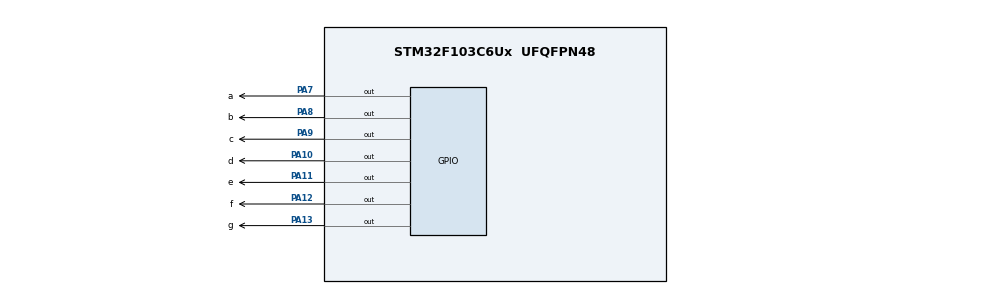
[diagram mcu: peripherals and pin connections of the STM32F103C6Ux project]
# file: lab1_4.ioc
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Mcu.Family=STM32F1
Mcu.Name=STM32F103C6Ux
Mcu.Package=UFQFPN48
NVIC.PriorityGroup=NVIC_PRIORITYGROUP_4
PA10.GPIO_Label=d
PA10.Signal=GPIO_Output
PA11.GPIO_Label=e
PA11.Signal=GPIO_Output
PA12.GPIO_Label=f
PA12.Signal=GPIO_Output
PA13.GPIO_Label=g
PA13.Signal=GPIO_Output
PA7.GPIO_Label=a
PA7.Signal=GPIO_Output
PA8.GPIO_Label=b
PA8.Signal=GPIO_Output
PA9.GPIO_Label=c
PA9.Signal=GPIO_Output
ProjectManager.HeapSize=0x200
ProjectManager.StackSize=0x400
ProjectManager.TargetToolchain=STM32CubeIDE
RCC.APB1Freq_Value=8000000
RCC.APB2Freq_Value=8000000
VP_SYS_VS_ND.Mode=No_Debug
board=custom

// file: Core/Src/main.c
/* USER CODE BEGIN Header */
/**
  ******************************************************************************
  * @file           : main.c
  * @brief          : Main program body
  ******************************************************************************
  * @attention
  *
  * <h2><center>&copy; Copyright (c) 2024 STMicroelectronics.
  * All rights reserved.</center></h2>
  *
  * This software component is licensed by ST under BSD 3-Clause license,
  * the "License"; You may not use this file except in compliance with the
  * License. You may obtain a copy of the License at:
  *                        opensource.org/licenses/BSD-3-Clause
  *
  ******************************************************************************
  */
/* USER CODE END Header */
#include "main.h"

void SystemClock_Config(void);
static void MX_GPIO_Init(void);

/* USER CODE BEGIN 0 */
void display7SEG(int num)
{
	if(num == 0) // segment g turn off
	{
		HAL_GPIO_WritePin(a_GPIO_Port, a_Pin, GPIO_PIN_RESET);
		HAL_GPIO_WritePin(b_GPIO_Port, b_Pin, GPIO_PIN_RESET);
		HAL_GPIO_WritePin(c_GPIO_Port, c_Pin, GPIO_PIN_RESET);
		HAL_GPIO_WritePin(d_GPIO_Port, d_Pin, GPIO_PIN_RESET);
		HAL_GPIO_WritePin(e_GPIO_Port, e_Pin, GPIO_PIN_RESET);
		HAL_GPIO_WritePin(f_GPIO_Port, f_Pin, GPIO_PIN_RESET);
		HAL_GPIO_WritePin(g_GPIO_Port, g_Pin, GPIO_PIN_SET);
	}
	if(num == 1)
	{
		HAL_GPIO_WritePin(a_GPIO_Port, a_Pin, GPIO_PIN_SET);
		HAL_GPIO_WritePin(b_GPIO_Port, b_Pin, GPIO_PIN_RESET);
		HAL_GPIO_WritePin(c_GPIO_Port, c_Pin, GPIO_PIN_RESET);
		HAL_GPIO_WritePin(d_GPIO_Port, d_Pin, GPIO_PIN_SET);
		HAL_GPIO_WritePin(e_GPIO_Port, e_Pin, GPIO_PIN_SET);
		HAL_GPIO_WritePin(f_GPIO_Port, f_Pin, GPIO_PIN_SET);
		HAL_GPIO_WritePin(g_GPIO_Port, g_Pin, GPIO_PIN_SET);

	}
	if(num == 2)
	{
		HAL_GPIO_WritePin(a_GPIO_Port, a_Pin, GPIO_PIN_RESET);
		HAL_GPIO_WritePin(b_GPIO_Port, b_Pin, GPIO_PIN_RESET);
		HAL_GPIO_WritePin(c_GPIO_Port, c_Pin, GPIO_PIN_SET);
		HAL_GPIO_WritePin(d_GPIO_Port, d_Pin, GPIO_PIN_RESET);
		HAL_GPIO_WritePin(e_GPIO_Port, e_Pin, GPIO_PIN_RESET);
		HAL_GPIO_WritePin(f_GPIO_Port, f_Pin, GPIO_PIN_SET);
		HAL_GPIO_WritePin(g_GPIO_Port, g_Pin, GPIO_PIN_RESET);

	}
	if(num == 3)
	{
		HAL_GPIO_WritePin(a_GPIO_Port, a_Pin, GPIO_PIN_RESET);
		HAL_GPIO_WritePin(b_GPIO_Port, b_Pin, GPIO_PIN_RESET);
		HAL_GPIO_WritePin(c_GPIO_Port, c_Pin, GPIO_PIN_RESET);
		HAL_GPIO_WritePin(d_GPIO_Port, d_Pin, GPIO_PIN_RESET);
		HAL_GPIO_WritePin(e_GPIO_Port, e_Pin, GPIO_PIN_SET);
		HAL_GPIO_WritePin(f_GPIO_Port, f_Pin, GPIO_PIN_SET);
		HAL_GPIO_WritePin(g_GPIO_Port, g_Pin, GPIO_PIN_RESET);
	}
	if(num == 4)
	{
		HAL_GPIO_WritePin(a_GPIO_Port, a_Pin, GPIO_PIN_SET);
		HAL_GPIO_WritePin(b_GPIO_Port, b_Pin, GPIO_PIN_RESET);
		HAL_GPIO_WritePin(c_GPIO_Port, c_Pin, GPIO_PIN_RESET);
		HAL_GPIO_WritePin(d_GPIO_Port, d_Pin, GPIO_PIN_SET);
		HAL_GPIO_WritePin(e_GPIO_Port, e_Pin, GPIO_PIN_SET);
		HAL_GPIO_WritePin(f_GPIO_Port, f_Pin, GPIO_PIN_RESET);
		HAL_GPIO_WritePin(g_GPIO_Port, g_Pin, GPIO_PIN_RESET);
	}
	if(num == 5)
	{
		HAL_GPIO_WritePin(a_GPIO_Port, a_Pin, GPIO_PIN_RESET);
		HAL_GPIO_WritePin(b_GPIO_Port, b_Pin, GPIO_PIN_SET);
		HAL_GPIO_WritePin(c_GPIO_Port, c_Pin, GPIO_PIN_RESET);
		HAL_GPIO_WritePin(d_GPIO_Port, d_Pin, GPIO_PIN_RESET);
		HAL_GPIO_WritePin(e_GPIO_Port, e_Pin, GPIO_PIN_SET);
		HAL_GPIO_WritePin(f_GPIO_Port, f_Pin, GPIO_PIN_RESET);
		HAL_GPIO_WritePin(g_GPIO_Port, g_Pin, GPIO_PIN_RESET);
	}
	if(num == 6)
	{
		HAL_GPIO_WritePin(a_GPIO_Port, a_Pin, GPIO_PIN_RESET);
		HAL_GPIO_WritePin(b_GPIO_Port, b_Pin, GPIO_PIN_SET);
		HAL_GPIO_WritePin(c_GPIO_Port, c_Pin, GPIO_PIN_RESET);
		HAL_GPIO_WritePin(d_GPIO_Port, d_Pin, GPIO_PIN_RESET);
		HAL_GPIO_WritePin(e_GPIO_Port, e_Pin, GPIO_PIN_RESET);
		HAL_GPIO_WritePin(f_GPIO_Port, f_Pin, GPIO_PIN_RESET);
		HAL_GPIO_WritePin(g_GPIO_Port, g_Pin, GPIO_PIN_RESET);

	}
	if(num == 7)
	{
		HAL_GPIO_WritePin(a_GPIO_Port, a_Pin, GPIO_PIN_RESET);
		HAL_GPIO_WritePin(b_GPIO_Port, b_Pin, GPIO_PIN_RESET);
		HAL_GPIO_WritePin(c_GPIO_Port, c_Pin, GPIO_PIN_RESET);
		HAL_GPIO_WritePin(d_GPIO_Port, d_Pin, GPIO_PIN_SET);
		HAL_GPIO_WritePin(e_GPIO_Port, e_Pin, GPIO_PIN_SET);
		HAL_GPIO_WritePin(f_GPIO_Port, f_Pin, GPIO_PIN_SET);
		HAL_GPIO_WritePin(g_GPIO_Port, g_Pin, GPIO_PIN_SET);

	}
	if(num == 8)
	{
		HAL_GPIO_WritePin(a_GPIO_Port, a_Pin, GPIO_PIN_RESET);
		HAL_GPIO_WritePin(b_GPIO_Port, b_Pin, GPIO_PIN_RESET);
		HAL_GPIO_WritePin(c_GPIO_Port, c_Pin, GPIO_PIN_RESET);
		HAL_GPIO_WritePin(d_GPIO_Port, d_Pin, GPIO_PIN_RESET);
		HAL_GPIO_WritePin(e_GPIO_Port, e_Pin, GPIO_PIN_RESET);
		HAL_GPIO_WritePin(f_GPIO_Port, f_Pin, GPIO_PIN_RESET);
		HAL_GPIO_WritePin(g_GPIO_Port, g_Pin, GPIO_PIN_RESET);
	}
	if(num == 9)
	{
		HAL_GPIO_WritePin(a_GPIO_Port, a_Pin, GPIO_PIN_RESET);
		HAL_GPIO_WritePin(b_GPIO_Port, b_Pin, GPIO_PIN_RESET);
		HAL_GPIO_WritePin(c_GPIO_Port, c_Pin, GPIO_PIN_RESET);
		HAL_GPIO_WritePin(d_GPIO_Port, d_Pin, GPIO_PIN_RESET);
		HAL_GPIO_WritePin(e_GPIO_Port, e_Pin, GPIO_PIN_SET);
		HAL_GPIO_WritePin(f_GPIO_Port, f_Pin, GPIO_PIN_RESET);
		HAL_GPIO_WritePin(g_GPIO_Port, g_Pin, GPIO_PIN_RESET);

	}
}
/* USER CODE END 0 */

int main(void)
{

  /* MCU Configuration--------------------------------------------------------*/

  /* Reset of all peripherals, Initializes the Flash interface and the Systick. */
  HAL_Init();

  /* Configure the system clock */
  SystemClock_Config();

  /* Initialize all configured peripherals */
  MX_GPIO_Init();

  /* Infinite loop */
  /* USER CODE BEGIN WHILE */
  int counter = 0;
  while (1)
  {

    /* USER CODE END WHILE */

    /* USER CODE BEGIN 3 */
	  if(counter >= 10) counter = 0;
		  display7SEG(counter++);
		  HAL_Delay(1000);

  }
  /* USER CODE END 3 */
}

void SystemClock_Config(void)
{
  RCC_OscInitTypeDef RCC_OscInitStruct = {0};
  RCC_ClkInitTypeDef RCC_ClkInitStruct = {0};

  /** Initializes the RCC Oscillators according to the specified parameters
  * in the RCC_OscInitTypeDef structure.
  */
  RCC_OscInitStruct.OscillatorType = RCC_OSCILLATORTYPE_HSI;
  RCC_OscInitStruct.HSIState = RCC_HSI_ON;
  RCC_OscInitStruct.HSICalibrationValue = RCC_HSICALIBRATION_DEFAULT;
  RCC_OscInitStruct.PLL.PLLState = RCC_PLL_NONE;
  if (HAL_RCC_OscConfig(&RCC_OscInitStruct) != HAL_OK)
  {
    Error_Handler();
  }
  /** Initializes the CPU, AHB and APB buses clocks
  */
  RCC_ClkInitStruct.ClockType = RCC_CLOCKTYPE_HCLK|RCC_CLOCKTYPE_SYSCLK
                              |RCC_CLOCKTYPE_PCLK1|RCC_CLOCKTYPE_PCLK2;
  RCC_ClkInitStruct.SYSCLKSource = RCC_SYSCLKSOURCE_HSI;
  RCC_ClkInitStruct.AHBCLKDivider = RCC_SYSCLK_DIV1;
  RCC_ClkInitStruct.APB1CLKDivider = RCC_HCLK_DIV1;
  RCC_ClkInitStruct.APB2CLKDivider = RCC_HCLK_DIV1;

  if (HAL_RCC_ClockConfig(&RCC_ClkInitStruct, FLASH_LATENCY_0) != HAL_OK)
  {
    Error_Handler();
  }
}

static void MX_GPIO_Init(void)
{
  GPIO_InitTypeDef GPIO_InitStruct = {0};

  /* GPIO Ports Clock Enable */
  __HAL_RCC_GPIOA_CLK_ENABLE();

  /*Configure GPIO pin Output Level */
  HAL_GPIO_WritePin(GPIOA, a_Pin|b_Pin|c_Pin|d_Pin
                          |e_Pin|f_Pin|g_Pin, GPIO_PIN_RESET);

  /*Configure GPIO pins : a_Pin b_Pin c_Pin d_Pin
                           e_Pin f_Pin g_Pin */
  GPIO_InitStruct.Pin = a_Pin|b_Pin|c_Pin|d_Pin
                          |e_Pin|f_Pin|g_Pin;
  GPIO_InitStruct.Mode = GPIO_MODE_OUTPUT_PP;
  GPIO_InitStruct.Pull = GPIO_NOPULL;
  GPIO_InitStruct.Speed = GPIO_SPEED_FREQ_LOW;
  HAL_GPIO_Init(GPIOA, &GPIO_InitStruct);

}

void Error_Handler(void)
{
  __disable_irq();
  while (1)
  {
  }
}

/************************ (C) COPYRIGHT STMicroelectronics *****END OF FILE****/
